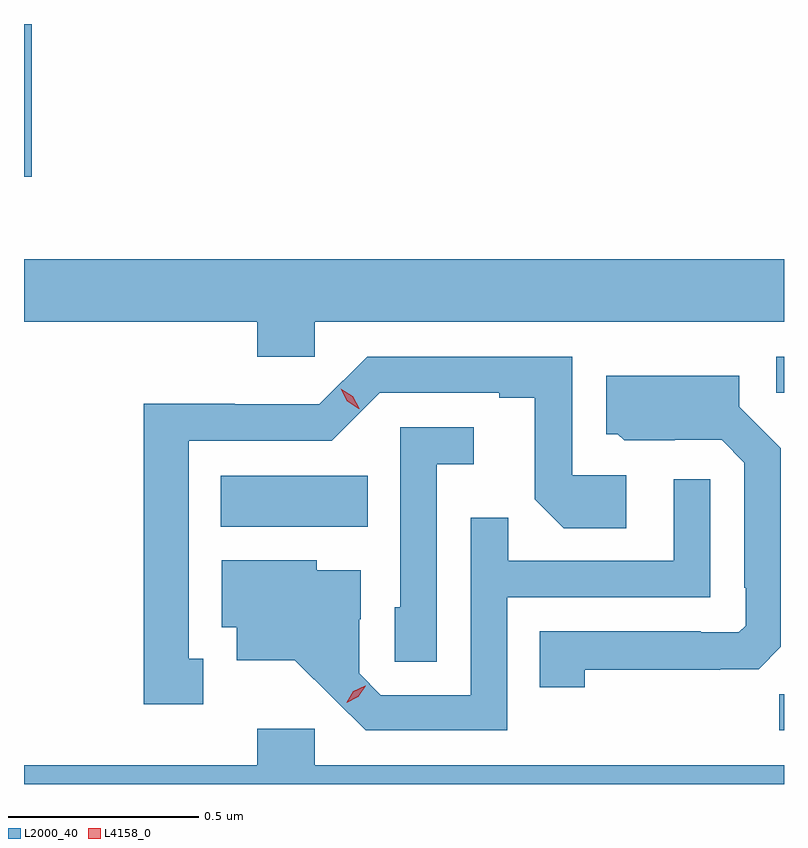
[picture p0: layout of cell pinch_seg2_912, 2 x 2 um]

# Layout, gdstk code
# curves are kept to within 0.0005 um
import gdstk
lib = gdstk.Library(unit=1e-6, precision=1e-09)
def R(c, l, rs):  # rectangles x0, y0, x1, y1
    for r in rs: c.add(gdstk.rectangle(r[:2], r[2:], *l))
def P(c, l, *ps):  # polygons
    for p in ps: c.add(gdstk.Polygon(p, *l))
L2000_40 = (2000, 40)
L4158_0 = (4158, 0)

pinch_seg2_912 = lib.new_cell('pinch_seg2_912')
R(pinch_seg2_912, L2000_40, [(376.6,583.956,376.613,584.051), (375.131,584.492,375.518,584.626), (376.593,584.844,376.613,584.94), (374.613,585.413,374.633,585.815)])
P(pinch_seg2_912, L2000_40, [(375.378,585.032),(376.613,585.032),(376.613,585.196),(374.613,585.196),(374.613,585.032),(375.227,585.032),(375.227,584.939),(375.378,584.939)],
  [(375.085,584.145),(375.046,584.145),(375.046,584.718),(375.423,584.718),(375.549,584.844),(375.863,584.844),(375.863,584.832),(375.957,584.832),(375.957,584.564),(376.033,584.488),(376.198,584.488),(376.198,584.628),(376.056,584.628),(376.056,584.94),(375.516,584.94),(375.39,584.814),(375.168,584.814),(375.168,584.816),(374.928,584.816),(374.928,584.025),(375.085,584.025)],
  [(376.089,584.116),(376.445,584.116),(376.445,584.117),(376.546,584.117),(376.605,584.176),(376.605,584.698),(376.495,584.808),(376.495,584.89),(376.145,584.89),(376.145,584.736),(376.176,584.736),(376.192,584.72),(376.326,584.72),(376.326,584.721),(376.449,584.721),(376.509,584.661),(376.509,584.332),(376.512,584.332),(376.512,584.232),(376.494,584.214),(376.394,584.214),(376.394,584.217),(375.97,584.217),(375.97,584.07),(376.089,584.07)],
  [(375.699,584.657),(375.796,584.657),(375.796,584.754),(375.603,584.754),(375.603,584.28),(375.588,584.28),(375.588,584.137),(375.699,584.137)],
  [(375.885,584.307),(376.419,584.307),(376.419,584.617),(376.323,584.617),(376.323,584.403),(375.887,584.403),(375.887,584.516),(375.789,584.516),(375.789,584.049),(375.552,584.049),(375.495,584.106),(375.495,584.248),(375.499,584.248),(375.499,584.377),(375.384,584.377),(375.384,584.404),(375.134,584.404),(375.134,584.228),(375.173,584.228),(375.173,584.141),(375.325,584.141),(375.512,583.956),(375.885,583.956)],
  [(376.613,583.864),(375.378,583.864),(375.378,583.96),(375.227,583.96),(375.227,583.864),(374.613,583.864),(374.613,583.815),(376.613,583.815)])
P(pinch_seg2_912, L4158_0, [(375.462,584.029),(375.462,584.03),(375.48,584.059),(375.511,584.073),(375.512,584.073),(375.512,584.073),(375.493,584.044),(375.462,584.029)],
  [(375.494,584.803),(375.463,584.822),(375.446,584.855),(375.446,584.855),(375.446,584.855),(375.478,584.836),(375.495,584.804),(375.495,584.803)])

lib.write_gds('pinch_seg2_912.gds')
